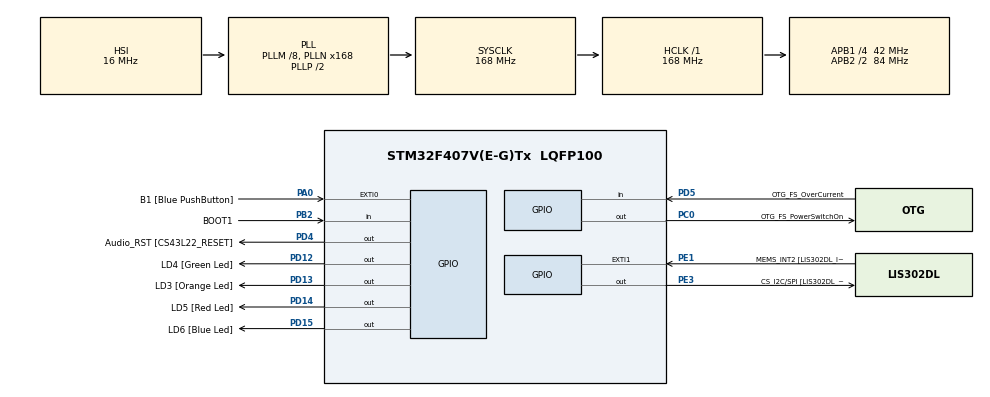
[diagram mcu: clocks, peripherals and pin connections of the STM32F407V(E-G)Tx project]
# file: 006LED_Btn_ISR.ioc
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Mcu.Family=STM32F4
Mcu.Name=STM32F407V(E-G)Tx
Mcu.Package=LQFP100
NVIC.EXTI0_IRQn=true\:6\:0\:true\:false\:true\:true\:true\:true
NVIC.PriorityGroup=NVIC_PRIORITYGROUP_4
NVIC.TIM6_DAC_IRQn=true\:0\:0\:false\:false\:true\:false\:true\:true
NVIC.TimeBase=TIM6_DAC_IRQn
NVIC.TimeBaseIP=TIM6
PA0-WKUP.GPIO_Label=B1 [Blue PushButton]
PA0-WKUP.GPIO_ModeDefaultEXTI=GPIO_MODE_IT_FALLING
PA0-WKUP.Signal=GPXTI0
PA10.GPIO_Label=OTG_FS_ID
PA10.GPIO_Mode=GPIO_MODE_AF_PP
PA10.GPIO_PuPd=GPIO_NOPULL
PA10.GPIO_Speed=GPIO_SPEED_FREQ_LOW
PA10.Signal=USB_OTG_FS_ID
PA11.GPIO_Label=OTG_FS_DM
PA11.GPIO_Mode=GPIO_MODE_AF_PP
PA11.GPIO_PuPd=GPIO_NOPULL
PA11.GPIO_Speed=GPIO_SPEED_FREQ_LOW
PA11.Signal=USB_OTG_FS_DM
PA12.GPIO_Label=OTG_FS_DP
PA12.GPIO_Mode=GPIO_MODE_AF_PP
PA12.GPIO_PuPd=GPIO_NOPULL
PA12.GPIO_Speed=GPIO_SPEED_FREQ_LOW
PA12.Signal=USB_OTG_FS_DP
PA13.GPIO_Label=SWDIO
PA13.Signal=SYS_JTMS-SWDIO
PA14.GPIO_Label=SWCLK
PA14.Signal=SYS_JTCK-SWCLK
PA4.GPIO_Label=I2S3_WS [CS43L22_LRCK]
PA4.GPIO_Mode=GPIO_MODE_AF_PP
PA4.GPIO_PuPd=GPIO_NOPULL
PA4.GPIO_Speed=GPIO_SPEED_FREQ_LOW
PA4.Signal=I2S3_WS
PA5.GPIO_Label=SPI1_SCK [LIS302DL_SCL/SPC]
PA5.GPIO_Mode=GPIO_MODE_AF_PP
PA5.GPIO_PuPd=GPIO_NOPULL
PA5.GPIO_Speed=GPIO_SPEED_FREQ_LOW
PA5.Signal=SPI1_SCK
PA6.GPIO_Label=SPI1_MISO [LIS302DL_SDO]
PA6.GPIO_Mode=GPIO_MODE_AF_PP
PA6.GPIO_PuPd=GPIO_NOPULL
PA6.GPIO_Speed=GPIO_SPEED_FREQ_LOW
PA6.Signal=SPI1_MISO
PA7.GPIO_Label=SPI1_MOSI [LIS302DL_SDA/SDI/SDO]
PA7.GPIO_Mode=GPIO_MODE_AF_PP
PA7.GPIO_PuPd=GPIO_NOPULL
PA7.GPIO_Speed=GPIO_SPEED_FREQ_LOW
PA7.Signal=SPI1_MOSI
PA9.GPIO_Label=VBUS_FS
PA9.GPIO_Mode=GPIO_MODE_INPUT
PA9.GPIO_PuPd=GPIO_NOPULL
PA9.Signal=USB_OTG_FS_VBUS
PB10.GPIO_Label=CLK_IN [MP45DT02_CLK]
PB10.GPIO_Mode=GPIO_MODE_AF_PP
PB10.GPIO_PuPd=GPIO_NOPULL
PB10.GPIO_Speed=GPIO_SPEED_FREQ_LOW
PB10.Signal=I2S2_CK
PB2.GPIO_Label=BOOT1
PB2.GPIO_Mode=GPIO_MODE_INPUT
PB2.GPIO_PuPd=GPIO_NOPULL
PB2.Signal=GPIO_Input
PB3.GPIO_Label=SWO
PB3.Signal=SYS_JTDO-SWO
PB6.GPIO_Label=Audio_SCL [CS43L22_SCL]
PB6.GPIO_Mode=GPIO_MODE_AF_OD
PB6.GPIO_PuPd=GPIO_NOPULL
PB6.GPIO_Speed=GPIO_SPEED_FREQ_LOW
PB6.Signal=I2C1_SCL
PB9.GPIO_Label=Audio_SDA [CS43L22_SDA]
PB9.GPIO_Mode=GPIO_MODE_AF_OD
PB9.GPIO_PuPd=GPIO_NOPULL
PB9.GPIO_Speed=GPIO_SPEED_FREQ_LOW
PB9.Signal=I2C1_SDA
PC0.GPIO_Label=OTG_FS_PowerSwitchOn
PC0.GPIO_PuPd=GPIO_NOPULL
PC0.GPIO_Speed=GPIO_SPEED_FREQ_LOW
PC0.PinState=GPIO_PIN_SET
PC0.Signal=GPIO_Output
PC10.GPIO_Label=I2S3_SCK [CS43L22_SCLK]
PC10.GPIO_Mode=GPIO_MODE_AF_PP
PC10.GPIO_PuPd=GPIO_NOPULL
PC10.GPIO_Speed=GPIO_SPEED_FREQ_LOW
PC10.Signal=I2S3_CK
PC12.GPIO_Label=I2S3_SD [CS43L22_SDIN]
PC12.GPIO_Mode=GPIO_MODE_AF_PP
PC12.GPIO_PuPd=GPIO_NOPULL
PC12.GPIO_Speed=GPIO_SPEED_FREQ_LOW
PC12.Signal=I2S3_SD
PC14-OSC32_IN.GPIO_Label=PC14-OSC32_IN
PC14-OSC32_IN.Signal=RCC_OSC32_IN
PC15-OSC32_OUT.GPIO_Label=PC15-OSC32_OUT
PC15-OSC32_OUT.Signal=RCC_OSC32_OUT
PC3.GPIO_Label=PDM_OUT [MP45DT02_DOUT]
PC3.GPIO_Mode=GPIO_MODE_AF_PP
PC3.GPIO_PuPd=GPIO_NOPULL
PC3.GPIO_Speed=GPIO_SPEED_FREQ_LOW
PC3.Signal=I2S2_SD
PC7.GPIO_Label=I2S3_MCK [CS43L22_MCLK]
PC7.GPIO_Mode=GPIO_MODE_AF_PP
PC7.GPIO_PuPd=GPIO_NOPULL
PC7.GPIO_Speed=GPIO_SPEED_FREQ_LOW
PC7.Signal=I2S3_MCK
PD12.GPIO_Label=LD4 [Green Led]
PD12.GPIO_PuPd=GPIO_NOPULL
PD12.GPIO_Speed=GPIO_SPEED_FREQ_LOW
PD12.Signal=GPIO_Output
PD13.GPIO_Label=LD3 [Orange Led]
PD13.GPIO_PuPd=GPIO_NOPULL
PD13.GPIO_Speed=GPIO_SPEED_FREQ_LOW
PD13.Signal=GPIO_Output
PD14.GPIO_Label=LD5 [Red Led]
PD14.GPIO_PuPd=GPIO_NOPULL
PD14.GPIO_Speed=GPIO_SPEED_FREQ_LOW
PD14.Signal=GPIO_Output
PD15.GPIO_Label=LD6 [Blue Led]
PD15.GPIO_PuPd=GPIO_NOPULL
PD15.GPIO_Speed=GPIO_SPEED_FREQ_LOW
PD15.Signal=GPIO_Output
PD4.GPIO_Label=Audio_RST [CS43L22_RESET]
PD4.GPIO_PuPd=GPIO_NOPULL
PD4.GPIO_Speed=GPIO_SPEED_FREQ_LOW
PD4.Signal=GPIO_Output
PD5.GPIO_Label=OTG_FS_OverCurrent
PD5.GPIO_Mode=GPIO_MODE_INPUT
PD5.GPIO_PuPd=GPIO_NOPULL
PD5.Signal=GPIO_Input
PE1.GPIO_Label=MEMS_INT2 [LIS302DL_INT2]
PE1.GPIO_ModeDefaultEXTI=GPIO_MODE_EVT_RISING
PE1.GPIO_PuPd=GPIO_NOPULL
PE1.Signal=GPXTI1
PE3.GPIO_Label=CS_I2C/SPI [LIS302DL_CS_I2C/SPI]
PE3.GPIO_PuPd=GPIO_NOPULL
PE3.GPIO_Speed=GPIO_SPEED_FREQ_LOW
PE3.Signal=GPIO_Output
PH0-OSC_IN.GPIO_Label=PH0-OSC_IN
PH0-OSC_IN.Signal=RCC_OSC_IN
PH1-OSC_OUT.GPIO_Label=PH1-OSC_OUT
PH1-OSC_OUT.Signal=RCC_OSC_OUT
ProjectManager.HeapSize=0x200
ProjectManager.StackSize=0x400
ProjectManager.TargetToolchain=STM32CubeIDE
RCC.48MHZClocksFreq_Value=48000000
RCC.AHBFreq_Value=168000000
RCC.APB1CLKDivider=RCC_HCLK_DIV4
RCC.APB1Freq_Value=42000000
RCC.APB1TimFreq_Value=84000000
RCC.APB2CLKDivider=RCC_HCLK_DIV2
RCC.APB2Freq_Value=84000000
RCC.APB2TimFreq_Value=168000000
RCC.CortexFreq_Value=168000000
RCC.HCLKFreq_Value=168000000
RCC.HSE_VALUE=8000000
RCC.HSI_VALUE=16000000
RCC.LSE_VALUE=32768
RCC.PLLM=8
RCC.PLLN=168
RCC.PLLQ=7
RCC.SYSCLKFreq_VALUE=168000000
RCC.SYSCLKSource=RCC_SYSCLKSOURCE_PLLCLK
RCC.VCOOutputFreq_Value=336000000
VP_SYS_VS_tim6.Mode=TIM6
board=STM32F407G-DISC1

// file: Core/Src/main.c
/* USER CODE BEGIN Header */
/**
  ******************************************************************************
  * @file           : main.c
  * @brief          : Main program body
  ******************************************************************************
  * @attention
  *
  * Copyright (c) 2024 STMicroelectronics.
  * All rights reserved.
  *
  * This software is licensed under terms that can be found in the LICENSE file
  * in the root directory of this software component.
  * If no LICENSE file comes with this software, it is provided AS-IS.
  *
  ******************************************************************************
  */
/* USER CODE END Header */
#include "main.h"

/* USER CODE BEGIN Includes */
#include <stdio.h>
#include "FreeRTOS.h"
#include "task.h"
/* USER CODE END Includes */

/* USER CODE BEGIN PM */
#define DWT_CTRL	(*(volatile uint32_t *)0xE0001000)
/* USER CODE END PM */

void SystemClock_Config(void);
static void MX_GPIO_Init(void);
/* USER CODE BEGIN PFP */
static void led_green_handler(void * parameters);
static void led_orange_handler(void * parameters);
static void led_red_handler(void * parameters);

TaskHandle_t ledg_task_handle;
TaskHandle_t ledo_task_handle;
TaskHandle_t ledr_task_handle;

TaskHandle_t volatile next_task_handle = NULL;

/* USER CODE END PFP */

int main(void)
{

  /* USER CODE BEGIN 1 */
	BaseType_t status;
  /* USER CODE END 1 */

  /* MCU Configuration--------------------------------------------------------*/

  /* Reset of all peripherals, Initializes the Flash interface and the Systick. */
  HAL_Init();

  /* Configure the system clock */
  SystemClock_Config();

  /* Initialize all configured peripherals */
  MX_GPIO_Init();
  /* USER CODE BEGIN 2 */
  /* Enable Cycle counter - bit 0 of DWT_CTRL register */
  DWT_CTRL |= (1 << 0);

  SEGGER_UART_init(500000);

  SEGGER_SYSVIEW_Conf();
  //SEGGER_SYSVIEW_Start();

	status = xTaskCreate(led_green_handler, "LED_green_task", 200, NULL, 3, &ledg_task_handle);
	configASSERT(status == pdPASS);

	next_task_handle = ledg_task_handle;

	status = xTaskCreate(led_orange_handler, "LED_orange_task", 200, NULL, 2, &ledo_task_handle);
	configASSERT(status == pdPASS);

	status = xTaskCreate(led_red_handler, "LED_red_task", 200, NULL, 1, &ledr_task_handle);
	configASSERT(status == pdPASS);

    // start the FreeRTOS scheduler
    vTaskStartScheduler();
  /* USER CODE END 2 */

  /* Infinite loop */
  while (1)
  {

  }
}

void SystemClock_Config(void)
{
  RCC_OscInitTypeDef RCC_OscInitStruct = {0};
  RCC_ClkInitTypeDef RCC_ClkInitStruct = {0};

  /** Configure the main internal regulator output voltage
  */
  __HAL_RCC_PWR_CLK_ENABLE();
  __HAL_PWR_VOLTAGESCALING_CONFIG(PWR_REGULATOR_VOLTAGE_SCALE1);

  /** Initializes the RCC Oscillators according to the specified parameters
  * in the RCC_OscInitTypeDef structure.
  */
  RCC_OscInitStruct.OscillatorType = RCC_OSCILLATORTYPE_HSI;
  RCC_OscInitStruct.HSIState = RCC_HSI_ON;
  RCC_OscInitStruct.HSICalibrationValue = RCC_HSICALIBRATION_DEFAULT;
  RCC_OscInitStruct.PLL.PLLState = RCC_PLL_ON;
  RCC_OscInitStruct.PLL.PLLSource = RCC_PLLSOURCE_HSI;
  RCC_OscInitStruct.PLL.PLLM = 8;
  RCC_OscInitStruct.PLL.PLLN = 168;
  RCC_OscInitStruct.PLL.PLLP = RCC_PLLP_DIV2;
  RCC_OscInitStruct.PLL.PLLQ = 7;
  if (HAL_RCC_OscConfig(&RCC_OscInitStruct) != HAL_OK)
  {
    Error_Handler();
  }

  /** Initializes the CPU, AHB and APB buses clocks
  */
  RCC_ClkInitStruct.ClockType = RCC_CLOCKTYPE_HCLK|RCC_CLOCKTYPE_SYSCLK
                              |RCC_CLOCKTYPE_PCLK1|RCC_CLOCKTYPE_PCLK2;
  RCC_ClkInitStruct.SYSCLKSource = RCC_SYSCLKSOURCE_PLLCLK;
  RCC_ClkInitStruct.AHBCLKDivider = RCC_SYSCLK_DIV1;
  RCC_ClkInitStruct.APB1CLKDivider = RCC_HCLK_DIV4;
  RCC_ClkInitStruct.APB2CLKDivider = RCC_HCLK_DIV2;

  if (HAL_RCC_ClockConfig(&RCC_ClkInitStruct, FLASH_LATENCY_5) != HAL_OK)
  {
    Error_Handler();
  }
}

static void MX_GPIO_Init(void)
{
  GPIO_InitTypeDef GPIO_InitStruct = {0};

  /* GPIO Ports Clock Enable */
  __HAL_RCC_GPIOE_CLK_ENABLE();
  __HAL_RCC_GPIOC_CLK_ENABLE();
  __HAL_RCC_GPIOH_CLK_ENABLE();
  __HAL_RCC_GPIOA_CLK_ENABLE();
  __HAL_RCC_GPIOB_CLK_ENABLE();
  __HAL_RCC_GPIOD_CLK_ENABLE();

  /*Configure GPIO pin Output Level */
  HAL_GPIO_WritePin(CS_I2C_SPI_GPIO_Port, CS_I2C_SPI_Pin, GPIO_PIN_RESET);

  /*Configure GPIO pin Output Level */
  HAL_GPIO_WritePin(OTG_FS_PowerSwitchOn_GPIO_Port, OTG_FS_PowerSwitchOn_Pin, GPIO_PIN_SET);

  /*Configure GPIO pin Output Level */
  HAL_GPIO_WritePin(GPIOD, LD4_Pin|LD3_Pin|LD5_Pin|LD6_Pin
                          |Audio_RST_Pin, GPIO_PIN_RESET);

  /*Configure GPIO pin : CS_I2C_SPI_Pin */
  GPIO_InitStruct.Pin = CS_I2C_SPI_Pin;
  GPIO_InitStruct.Mode = GPIO_MODE_OUTPUT_PP;
  GPIO_InitStruct.Pull = GPIO_NOPULL;
  GPIO_InitStruct.Speed = GPIO_SPEED_FREQ_LOW;
  HAL_GPIO_Init(CS_I2C_SPI_GPIO_Port, &GPIO_InitStruct);

  /*Configure GPIO pin : OTG_FS_PowerSwitchOn_Pin */
  GPIO_InitStruct.Pin = OTG_FS_PowerSwitchOn_Pin;
  GPIO_InitStruct.Mode = GPIO_MODE_OUTPUT_PP;
  GPIO_InitStruct.Pull = GPIO_NOPULL;
  GPIO_InitStruct.Speed = GPIO_SPEED_FREQ_LOW;
  HAL_GPIO_Init(OTG_FS_PowerSwitchOn_GPIO_Port, &GPIO_InitStruct);

  /*Configure GPIO pin : PDM_OUT_Pin */
  GPIO_InitStruct.Pin = PDM_OUT_Pin;
  GPIO_InitStruct.Mode = GPIO_MODE_AF_PP;
  GPIO_InitStruct.Pull = GPIO_NOPULL;
  GPIO_InitStruct.Speed = GPIO_SPEED_FREQ_LOW;
  GPIO_InitStruct.Alternate = GPIO_AF5_SPI2;
  HAL_GPIO_Init(PDM_OUT_GPIO_Port, &GPIO_InitStruct);

  /*Configure GPIO pin : B1_Pin */
  GPIO_InitStruct.Pin = B1_Pin;
  GPIO_InitStruct.Mode = GPIO_MODE_IT_FALLING;
  GPIO_InitStruct.Pull = GPIO_NOPULL;
  HAL_GPIO_Init(B1_GPIO_Port, &GPIO_InitStruct);

  /*Configure GPIO pin : I2S3_WS_Pin */
  GPIO_InitStruct.Pin = I2S3_WS_Pin;
  GPIO_InitStruct.Mode = GPIO_MODE_AF_PP;
  GPIO_InitStruct.Pull = GPIO_NOPULL;
  GPIO_InitStruct.Speed = GPIO_SPEED_FREQ_LOW;
  GPIO_InitStruct.Alternate = GPIO_AF6_SPI3;
  HAL_GPIO_Init(I2S3_WS_GPIO_Port, &GPIO_InitStruct);

  /*Configure GPIO pins : SPI1_SCK_Pin SPI1_MISO_Pin SPI1_MOSI_Pin */
  GPIO_InitStruct.Pin = SPI1_SCK_Pin|SPI1_MISO_Pin|SPI1_MOSI_Pin;
  GPIO_InitStruct.Mode = GPIO_MODE_AF_PP;
  GPIO_InitStruct.Pull = GPIO_NOPULL;
  GPIO_InitStruct.Speed = GPIO_SPEED_FREQ_LOW;
  GPIO_InitStruct.Alternate = GPIO_AF5_SPI1;
  HAL_GPIO_Init(GPIOA, &GPIO_InitStruct);

  /*Configure GPIO pin : BOOT1_Pin */
  GPIO_InitStruct.Pin = BOOT1_Pin;
  GPIO_InitStruct.Mode = GPIO_MODE_INPUT;
  GPIO_InitStruct.Pull = GPIO_NOPULL;
  HAL_GPIO_Init(BOOT1_GPIO_Port, &GPIO_InitStruct);

  /*Configure GPIO pin : CLK_IN_Pin */
  GPIO_InitStruct.Pin = CLK_IN_Pin;
  GPIO_InitStruct.Mode = GPIO_MODE_AF_PP;
  GPIO_InitStruct.Pull = GPIO_NOPULL;
  GPIO_InitStruct.Speed = GPIO_SPEED_FREQ_LOW;
  GPIO_InitStruct.Alternate = GPIO_AF5_SPI2;
  HAL_GPIO_Init(CLK_IN_GPIO_Port, &GPIO_InitStruct);

  /*Configure GPIO pins : LD4_Pin LD3_Pin LD5_Pin LD6_Pin
                           Audio_RST_Pin */
  GPIO_InitStruct.Pin = LD4_Pin|LD3_Pin|LD5_Pin|LD6_Pin
                          |Audio_RST_Pin;
  GPIO_InitStruct.Mode = GPIO_MODE_OUTPUT_PP;
  GPIO_InitStruct.Pull = GPIO_NOPULL;
  GPIO_InitStruct.Speed = GPIO_SPEED_FREQ_LOW;
  HAL_GPIO_Init(GPIOD, &GPIO_InitStruct);

  /*Configure GPIO pins : I2S3_MCK_Pin I2S3_SCK_Pin I2S3_SD_Pin */
  GPIO_InitStruct.Pin = I2S3_MCK_Pin|I2S3_SCK_Pin|I2S3_SD_Pin;
  GPIO_InitStruct.Mode = GPIO_MODE_AF_PP;
  GPIO_InitStruct.Pull = GPIO_NOPULL;
  GPIO_InitStruct.Speed = GPIO_SPEED_FREQ_LOW;
  GPIO_InitStruct.Alternate = GPIO_AF6_SPI3;
  HAL_GPIO_Init(GPIOC, &GPIO_InitStruct);

  /*Configure GPIO pin : VBUS_FS_Pin */
  GPIO_InitStruct.Pin = VBUS_FS_Pin;
  GPIO_InitStruct.Mode = GPIO_MODE_INPUT;
  GPIO_InitStruct.Pull = GPIO_NOPULL;
  HAL_GPIO_Init(VBUS_FS_GPIO_Port, &GPIO_InitStruct);

  /*Configure GPIO pins : OTG_FS_ID_Pin OTG_FS_DM_Pin OTG_FS_DP_Pin */
  GPIO_InitStruct.Pin = OTG_FS_ID_Pin|OTG_FS_DM_Pin|OTG_FS_DP_Pin;
  GPIO_InitStruct.Mode = GPIO_MODE_AF_PP;
  GPIO_InitStruct.Pull = GPIO_NOPULL;
  GPIO_InitStruct.Speed = GPIO_SPEED_FREQ_LOW;
  GPIO_InitStruct.Alternate = GPIO_AF10_OTG_FS;
  HAL_GPIO_Init(GPIOA, &GPIO_InitStruct);

  /*Configure GPIO pin : OTG_FS_OverCurrent_Pin */
  GPIO_InitStruct.Pin = OTG_FS_OverCurrent_Pin;
  GPIO_InitStruct.Mode = GPIO_MODE_INPUT;
  GPIO_InitStruct.Pull = GPIO_NOPULL;
  HAL_GPIO_Init(OTG_FS_OverCurrent_GPIO_Port, &GPIO_InitStruct);

  /*Configure GPIO pins : Audio_SCL_Pin Audio_SDA_Pin */
  GPIO_InitStruct.Pin = Audio_SCL_Pin|Audio_SDA_Pin;
  GPIO_InitStruct.Mode = GPIO_MODE_AF_OD;
  GPIO_InitStruct.Pull = GPIO_NOPULL;
  GPIO_InitStruct.Speed = GPIO_SPEED_FREQ_LOW;
  GPIO_InitStruct.Alternate = GPIO_AF4_I2C1;
  HAL_GPIO_Init(GPIOB, &GPIO_InitStruct);

  /*Configure GPIO pin : MEMS_INT2_Pin */
  GPIO_InitStruct.Pin = MEMS_INT2_Pin;
  GPIO_InitStruct.Mode = GPIO_MODE_EVT_RISING;
  GPIO_InitStruct.Pull = GPIO_NOPULL;
  HAL_GPIO_Init(MEMS_INT2_GPIO_Port, &GPIO_InitStruct);

  /* EXTI interrupt init*/
  HAL_NVIC_SetPriority(EXTI0_IRQn, 6, 0);
  HAL_NVIC_EnableIRQ(EXTI0_IRQn);

}

/* USER CODE BEGIN 4 */
void button_interrupt_handler(void)
{
	traceISR_ENTER();
	xTaskNotifyFromISR(next_task_handle, 0, eNoAction, NULL);
	traceISR_EXIT();
}

static void led_green_handler(void * parameters)
{
	BaseType_t status;
	while(1)
	{
		SEGGER_SYSVIEW_PrintfTarget("Toggling green LED");
		HAL_GPIO_TogglePin(GPIOD, GPIO_PIN_12); // PD12
		// Wait for the notification
		status = xTaskNotifyWait(0, 0, NULL, pdMS_TO_TICKS(1000));

		if (status == pdTRUE)
		{
			portENTER_CRITICAL();
			//vTaskSuspendAll();
			// The notification is received or the User has already pressed the button
			next_task_handle = ledo_task_handle; // update next_task_handle
			//xTaskResumeAll();
			HAL_GPIO_WritePin(GPIOD, GPIO_PIN_12, GPIO_PIN_SET); // before deleting task, keep the LED on
			SEGGER_SYSVIEW_PrintfTarget("Delete green LED task");
			portEXIT_CRITICAL();
			vTaskDelete(NULL); // delete itself
		}
		else
		{

		}
	}
}

static void led_orange_handler(void * parameters)
{
	BaseType_t status;
	while(1)
	{
		SEGGER_SYSVIEW_PrintfTarget("Toggling orange LED");
		HAL_GPIO_TogglePin(GPIOD, GPIO_PIN_13); // PD13
		// Wait for the notification
		status = xTaskNotifyWait(0, 0, NULL, pdMS_TO_TICKS(800));

		if (status == pdTRUE)
		{
			portENTER_CRITICAL();
			//vTaskSuspendAll();
			// The notification is received or the User has already pressed the button
			next_task_handle = ledr_task_handle; // update next_task_handle
			//xTaskResumeAll();
			HAL_GPIO_WritePin(GPIOD, GPIO_PIN_13, GPIO_PIN_SET); // before deleting task, keep the LED on
			SEGGER_SYSVIEW_PrintfTarget("Delete orange LED task");
			portEXIT_CRITICAL();
			vTaskDelete(NULL); // delete itself
		}
		else
		{

		}
	}
}

static void led_red_handler(void * parameters)
{
	BaseType_t status;
	while(1)
	{
		SEGGER_SYSVIEW_PrintfTarget("Toggling red LED");
		HAL_GPIO_TogglePin(GPIOD, GPIO_PIN_14); // PD14
		// Wait for the notification
		status = xTaskNotifyWait(0, 0, NULL, pdMS_TO_TICKS(400));

		if (status == pdTRUE)
		{
			portENTER_CRITICAL();
			//vTaskSuspendAll();
			// The notification is received or the User has already pressed the button
			next_task_handle = NULL; // update next_task_handle
			//xTaskResumeAll();
			HAL_GPIO_WritePin(GPIOD, GPIO_PIN_14, GPIO_PIN_SET); // before deleting task, keep the LED on
			//vTaskDelete(btn_task_handle); // delete button task
			SEGGER_SYSVIEW_PrintfTarget("Delete red LED task");
			portEXIT_CRITICAL();
			vTaskDelete(NULL); // delete itself
		}
		else
		{

		}
	}
}
/* USER CODE END 4 */

void HAL_TIM_PeriodElapsedCallback(TIM_HandleTypeDef *htim)
{
  if (htim->Instance == TIM6) {
    HAL_IncTick();
  }
}

void Error_Handler(void)
{
  __disable_irq();
  while (1)
  {
  }
}
